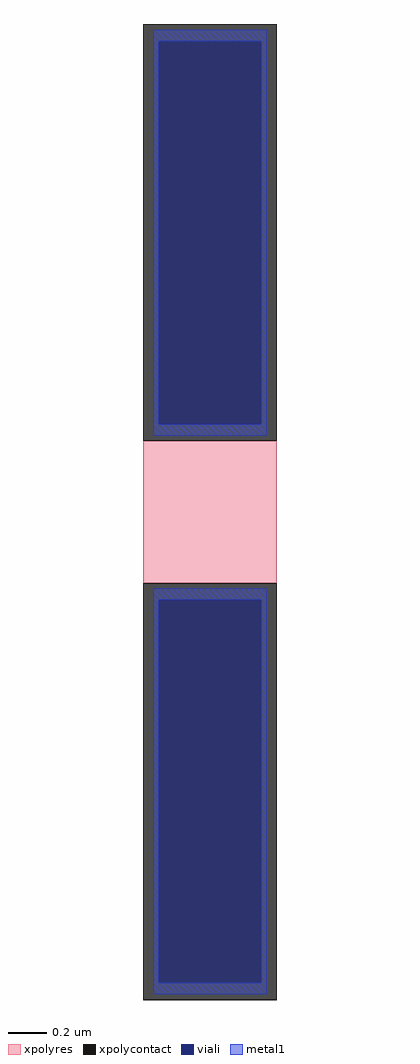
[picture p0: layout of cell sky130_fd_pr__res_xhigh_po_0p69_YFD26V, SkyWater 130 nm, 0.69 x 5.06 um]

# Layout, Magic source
magic
tech sky130A
magscale 1 2
<< xpolycontact >>
rect -69 74 69 506
rect -69 -506 69 -74
<< xpolyres >>
rect -69 -74 69 74
<< viali >>
rect -53 91 53 488
rect -53 -488 53 -91
<< metal1 >>
rect -59 488 59 500
rect -59 91 -53 488
rect 53 91 59 488
rect -59 79 59 91
rect -59 -91 59 -79
rect -59 -488 -53 -91
rect 53 -488 59 -91
rect -59 -500 59 -488
<< properties >>
string gencell sky130_fd_pr__res_xhigh_po_0p69
string library sky130
string parameters w 0.69 l 0.90 m 1 nx 1 wmin 0.690 lmin 0.50 class resistor rho 2000 val 3.154k dummy 0 dw 0.0 term 188.2 sterm 0.0 caplen 0 wmax 0.690 guard 0 glc 0 grc 0 gtc 0 gbc 0 compatible {sky130_fd_pr__res_xhigh_po_0p35  sky130_fd_pr__res_xhigh_po_0p69 sky130_fd_pr__res_xhigh_po_1p41  sky130_fd_pr__res_xhigh_po_2p85 sky130_fd_pr__res_xhigh_po_5p73} snake 0 full_metal 0 n_guard 0 hv_guard 0 vias 1 viagb 0 viagt 0 viagl 0 viagr 0
<< end >>
